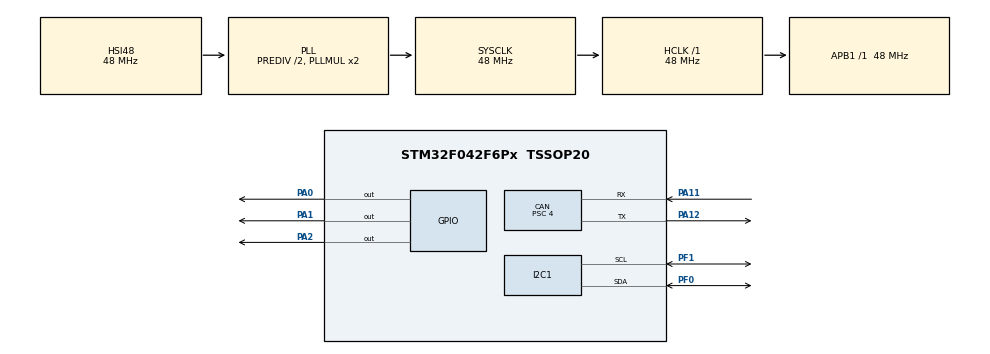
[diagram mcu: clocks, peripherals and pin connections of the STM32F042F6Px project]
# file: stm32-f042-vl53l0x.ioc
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CAN.BS1=CAN_BS1_10TQ
CAN.CalculateTimeQuantum=83.33333333333333
CAN.Prescaler=4
Mcu.Family=STM32F0
Mcu.Name=STM32F042F6Px
Mcu.Package=TSSOP20
NVIC.TIM2_IRQn=true\:0\:0\:false\:false\:true\:true\:true
PA0.Signal=GPIO_Output
PA1.Signal=GPIO_Output
PA11.Mode=Master
PA11.Signal=CAN_RX
PA12.Mode=Master
PA12.Signal=CAN_TX
PA13.Mode=Serial_Wire
PA13.Signal=SYS_SWDIO
PA14.Mode=Serial_Wire
PA14.Signal=SYS_SWCLK
PA2.Signal=GPIO_Output
PF0-OSC_IN.Mode=I2C
PF0-OSC_IN.Signal=I2C1_SDA
PF1-OSC_OUT.Mode=I2C
PF1-OSC_OUT.Signal=I2C1_SCL
ProjectManager.HeapSize=0x200
ProjectManager.StackSize=0x400
ProjectManager.TargetToolchain=STM32CubeIDE
RCC.AHBFreq_Value=48000000
RCC.APB1Freq_Value=48000000
RCC.APB1TimFreq_Value=48000000
RCC.HCLKFreq_Value=48000000
RCC.PLLDivider=RCC_PREDIV_DIV2
RCC.PLLSourceVirtual=RCC_PLLSOURCE_HSI48
RCC.SYSCLKFreq_VALUE=48000000
RCC.SYSCLKSource=RCC_SYSCLKSOURCE_PLLCLK
VP_SYS_VS_PINREMAP.Mode=PINREMAP
VP_TIM2_VS_ClockSourceINT.Mode=Internal
board=custom

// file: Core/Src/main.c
/* USER CODE BEGIN Header */
/**
  ******************************************************************************
  * @file           : main.c
  * @brief          : Main program body
  ******************************************************************************
  * @attention
  *
  * <h2><center>&copy; Copyright (c) 2020 STMicroelectronics.
  * All rights reserved.</center></h2>
  *
  * This software component is licensed by ST under BSD 3-Clause license,
  * the "License"; You may not use this file except in compliance with the
  * License. You may obtain a copy of the License at:
  *                        opensource.org/licenses/BSD-3-Clause
  *
  ******************************************************************************
  */
/* USER CODE END Header */

#include "main.h"

/* USER CODE BEGIN Includes */
#include "VL53L0X.h"
/* USER CODE END Includes */

/* USER CODE BEGIN PD */
#define LONG_RANGE
#define HIGH_SPEED
/* USER CODE END PD */

CAN_HandleTypeDef hcan;

I2C_HandleTypeDef hi2c1;

TIM_HandleTypeDef htim2;

/* USER CODE BEGIN PV */
uint8_t aa = 0;
uint8_t ctrl_a = 0x00;
uint8_t init1 = 0;
uint8_t measureValueToSm = 0;
uint16_t measureValue = 0;
uint16_t _value = 0;
uint8_t vl53l0x_data[8];

float meters = 0;

volatile uint32_t count = 0;

volatile uint32_t sysTick_Time = 0;

struct VL53L0X myTOFsensor1 = {.io_2v8 = true, .address = 0b0101001, .io_timeout = 50, .did_timeout = false};

CAN_TxHeaderTypeDef pHeader;
CAN_RxHeaderTypeDef pRxHeader;
CAN_FilterTypeDef sFilterConfig;
uint32_t TxMailbox;
/* USER CODE END PV */

void SystemClock_Config(void);
static void MX_GPIO_Init(void);
static void MX_CAN_Init(void);
static void MX_I2C1_Init(void);
static void MX_TIM2_Init(void);

int main(void)
{

  /* MCU Configuration--------------------------------------------------------*/

  /* Reset of all peripherals, Initializes the Flash interface and the Systick. */
  HAL_Init();

  /* Configure the system clock */
  SystemClock_Config();

  /* Initialize all configured peripherals */
  MX_GPIO_Init();
  MX_CAN_Init();
  MX_I2C1_Init();
  MX_TIM2_Init();
  /* USER CODE BEGIN 2 */
  if(VL53L0X_init(&myTOFsensor1)) {
      aa = 2;
  }
  else {
	  aa = 1;
  }

  #ifdef LONG_RANGE
	// lower the return signal rate limit (default is 0.25 MCPS)
  VL53L0X_setSignalRateLimit(&myTOFsensor1, 0.1);
	// increase laser pulse periods (defaults are 14 and 10 PCLKs)
  VL53L0X_setVcselPulsePeriod(&myTOFsensor1, VcselPeriodPreRange, 18);
  VL53L0X_setVcselPulsePeriod(&myTOFsensor1, VcselPeriodFinalRange, 14);
	// lower the return signal rate limit (default is 0.25 MCPS)
  #endif
  #ifdef HIGH_SPEED
	// reduce timing budget to 20 ms (default is about 33 ms)
  VL53L0X_setMeasurementTimingBudget(&myTOFsensor1, 33000);
  #else //HIGH_ACCURACY
	// increase timing budget to 200 ms
  VL53L0X_setMeasurementTimingBudget(&myTOFsensor1, 200000);
  #endif

  VL53L0X_startContinuous(&myTOFsensor1, 0);

  pHeader.DLC = 1;
  pHeader.IDE = CAN_ID_STD;
  pHeader.RTR = CAN_RTR_DATA;
  pHeader.StdId = 0x8D;

  sFilterConfig.FilterFIFOAssignment = CAN_FILTER_FIFO0;
  sFilterConfig.FilterIdHigh = 0;
  sFilterConfig.FilterIdLow = 0;
  sFilterConfig.FilterMaskIdHigh = 0;
  sFilterConfig.FilterMaskIdLow = 0;
  sFilterConfig.FilterScale = CAN_FILTERSCALE_16BIT;
  sFilterConfig.FilterMode = CAN_FILTERMODE_IDLIST;
  sFilterConfig.FilterActivation = ENABLE;
  HAL_CAN_ConfigFilter(&hcan, &sFilterConfig);

  HAL_CAN_Start(&hcan);
  //HAL_CAN_ActivateNotification(&hcan, CAN_IT_RX_FIFO0_MSG_PENDING);
  /* USER CODE END 2 */

  /* Infinite loop */
  while (1)
  {

    /* USER CODE BEGIN 3 */
	measureValue = ((VL53L0X_readRangeContinuousMillimeters(&myTOFsensor1)/10 > 200)||(VL53L0X_readRangeContinuousMillimeters(&myTOFsensor1) >= 8190)) ? 0 : VL53L0X_readRangeContinuousMillimeters(&myTOFsensor1)/10;
	if (measureValue <= 200) {measureValueToSm = measureValue;}
	//if (VL53L0X_timeoutOccurred(&myTOFsensor1)) {
	vl53l0x_data[0] = measureValueToSm;
	//}
  }
  /* USER CODE END 3 */
}

void SystemClock_Config(void)
{
  RCC_OscInitTypeDef RCC_OscInitStruct = {0};
  RCC_ClkInitTypeDef RCC_ClkInitStruct = {0};
  RCC_PeriphCLKInitTypeDef PeriphClkInit = {0};

  /** Initializes the CPU, AHB and APB busses clocks
  */
  RCC_OscInitStruct.OscillatorType = RCC_OSCILLATORTYPE_HSI|RCC_OSCILLATORTYPE_HSI48;
  RCC_OscInitStruct.HSIState = RCC_HSI_ON;
  RCC_OscInitStruct.HSI48State = RCC_HSI48_ON;
  RCC_OscInitStruct.HSICalibrationValue = RCC_HSICALIBRATION_DEFAULT;
  RCC_OscInitStruct.PLL.PLLState = RCC_PLL_ON;
  RCC_OscInitStruct.PLL.PLLSource = RCC_PLLSOURCE_HSI48;
  RCC_OscInitStruct.PLL.PLLMUL = RCC_PLL_MUL2;
  RCC_OscInitStruct.PLL.PREDIV = RCC_PREDIV_DIV2;
  if (HAL_RCC_OscConfig(&RCC_OscInitStruct) != HAL_OK)
  {
    Error_Handler();
  }
  /** Initializes the CPU, AHB and APB busses clocks
  */
  RCC_ClkInitStruct.ClockType = RCC_CLOCKTYPE_HCLK|RCC_CLOCKTYPE_SYSCLK
                              |RCC_CLOCKTYPE_PCLK1;
  RCC_ClkInitStruct.SYSCLKSource = RCC_SYSCLKSOURCE_PLLCLK;
  RCC_ClkInitStruct.AHBCLKDivider = RCC_SYSCLK_DIV1;
  RCC_ClkInitStruct.APB1CLKDivider = RCC_HCLK_DIV1;

  if (HAL_RCC_ClockConfig(&RCC_ClkInitStruct, FLASH_LATENCY_1) != HAL_OK)
  {
    Error_Handler();
  }
  PeriphClkInit.PeriphClockSelection = RCC_PERIPHCLK_I2C1;
  PeriphClkInit.I2c1ClockSelection = RCC_I2C1CLKSOURCE_HSI;
  if (HAL_RCCEx_PeriphCLKConfig(&PeriphClkInit) != HAL_OK)
  {
    Error_Handler();
  }
}

static void MX_CAN_Init(void)
{

  hcan.Instance = CAN;
  hcan.Init.Prescaler = 4;
  hcan.Init.Mode = CAN_MODE_NORMAL;
  hcan.Init.SyncJumpWidth = CAN_SJW_1TQ;
  hcan.Init.TimeSeg1 = CAN_BS1_10TQ;
  hcan.Init.TimeSeg2 = CAN_BS2_1TQ;
  hcan.Init.TimeTriggeredMode = DISABLE;
  hcan.Init.AutoBusOff = DISABLE;
  hcan.Init.AutoWakeUp = DISABLE;
  hcan.Init.AutoRetransmission = DISABLE;
  hcan.Init.ReceiveFifoLocked = DISABLE;
  hcan.Init.TransmitFifoPriority = DISABLE;
  if (HAL_CAN_Init(&hcan) != HAL_OK)
  {
    Error_Handler();
  }

}

static void MX_I2C1_Init(void)
{

  hi2c1.Instance = I2C1;
  hi2c1.Init.Timing = 0x2000090E;
  hi2c1.Init.OwnAddress1 = 0;
  hi2c1.Init.AddressingMode = I2C_ADDRESSINGMODE_7BIT;
  hi2c1.Init.DualAddressMode = I2C_DUALADDRESS_DISABLE;
  hi2c1.Init.OwnAddress2 = 0;
  hi2c1.Init.OwnAddress2Masks = I2C_OA2_NOMASK;
  hi2c1.Init.GeneralCallMode = I2C_GENERALCALL_DISABLE;
  hi2c1.Init.NoStretchMode = I2C_NOSTRETCH_DISABLE;
  if (HAL_I2C_Init(&hi2c1) != HAL_OK)
  {
    Error_Handler();
  }
  /** Configure Analogue filter
  */
  if (HAL_I2CEx_ConfigAnalogFilter(&hi2c1, I2C_ANALOGFILTER_ENABLE) != HAL_OK)
  {
    Error_Handler();
  }
  /** Configure Digital filter
  */
  if (HAL_I2CEx_ConfigDigitalFilter(&hi2c1, 0) != HAL_OK)
  {
    Error_Handler();
  }

}

static void MX_TIM2_Init(void)
{

  TIM_ClockConfigTypeDef sClockSourceConfig = {0};
  TIM_MasterConfigTypeDef sMasterConfig = {0};

  htim2.Instance = TIM2;
  htim2.Init.Prescaler = 0;
  htim2.Init.CounterMode = TIM_COUNTERMODE_UP;
  htim2.Init.Period = 0;
  htim2.Init.ClockDivision = TIM_CLOCKDIVISION_DIV1;
  htim2.Init.AutoReloadPreload = TIM_AUTORELOAD_PRELOAD_DISABLE;
  if (HAL_TIM_Base_Init(&htim2) != HAL_OK)
  {
    Error_Handler();
  }
  sClockSourceConfig.ClockSource = TIM_CLOCKSOURCE_INTERNAL;
  if (HAL_TIM_ConfigClockSource(&htim2, &sClockSourceConfig) != HAL_OK)
  {
    Error_Handler();
  }
  sMasterConfig.MasterOutputTrigger = TIM_TRGO_RESET;
  sMasterConfig.MasterSlaveMode = TIM_MASTERSLAVEMODE_DISABLE;
  if (HAL_TIMEx_MasterConfigSynchronization(&htim2, &sMasterConfig) != HAL_OK)
  {
    Error_Handler();
  }

}

static void MX_GPIO_Init(void)
{
  GPIO_InitTypeDef GPIO_InitStruct = {0};

  /* GPIO Ports Clock Enable */
  __HAL_RCC_GPIOF_CLK_ENABLE();
  __HAL_RCC_GPIOA_CLK_ENABLE();

  /*Configure GPIO pin Output Level */
  HAL_GPIO_WritePin(GPIOA, GPIO_PIN_0|GPIO_PIN_1|GPIO_PIN_2, GPIO_PIN_RESET);

  /*Configure GPIO pins : PA0 PA1 PA2 */
  GPIO_InitStruct.Pin = GPIO_PIN_0|GPIO_PIN_1|GPIO_PIN_2;
  GPIO_InitStruct.Mode = GPIO_MODE_OUTPUT_PP;
  GPIO_InitStruct.Pull = GPIO_NOPULL;
  GPIO_InitStruct.Speed = GPIO_SPEED_FREQ_LOW;
  HAL_GPIO_Init(GPIOA, &GPIO_InitStruct);

}

void Error_Handler(void)
{
}

/************************ (C) COPYRIGHT STMicroelectronics *****END OF FILE****/
